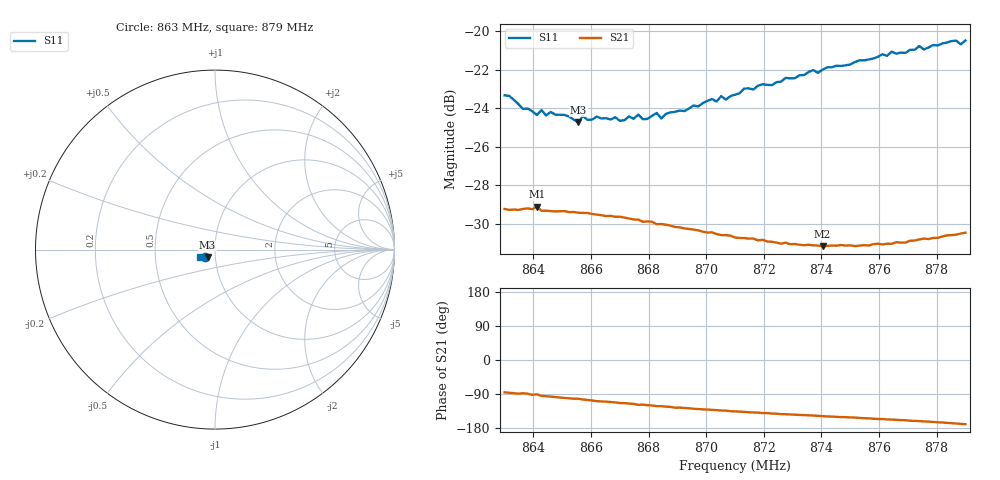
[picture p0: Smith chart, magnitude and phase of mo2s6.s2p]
# HZ S RI R 50
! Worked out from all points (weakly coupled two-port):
!   101 points, 863 MHz to 879 MHz, reference 50 ohm
!   highest |S21| = -29.11 dB at 864.12 MHz (marker M1); lowest = -31.2 dB at 874.04 MHz (marker M2)
!   lowest |S11| = -24.7 dB at 865.56 MHz (marker M3), VSWR 1.12, Z = 45.9 - j3.74 ohm
!   |S11| at or under -10 dB: start of sweep to end of sweep
!   S12 and S22 are empty: the file has one direction only
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8.63e8  -0.0537 -0.0418  0.00279 -0.0344  0 0  0 0
8.6412e8  -0.0427 -0.0428  -0.00034 -0.035  0 0  0 0
8.6428e8  -0.0453 -0.0429  -0.00271 -0.0341  0 0  0 0
8.6444e8  -0.0446 -0.0407  -0.00333 -0.034  0 0  0 0
8.646e8  -0.0459 -0.0412  -0.00396 -0.0339  0 0  0 0
8.6508e8  -0.0425 -0.0432  -0.006 -0.0336  0 0  0 0
8.6556e8  -0.0412 -0.0407  -0.00719 -0.033  0 0  0 0
8.6572e8  -0.0404 -0.0446  -0.00837 -0.0327  0 0  0 0
8.67e8  -0.0389 -0.0437  -0.0132 -0.0302  0 0  0 0
8.6764e8  -0.0393 -0.0462  -0.0154 -0.0285  0 0  0 0
8.6796e8  -0.0372 -0.046  -0.0157 -0.0279  0 0  0 0
8.6828e8  -0.0382 -0.0479  -0.0166 -0.0268  0 0  0 0
8.6844e8  -0.0361 -0.0471  -0.0167 -0.0268  0 0  0 0
8.71e8  -0.042 -0.0539  -0.0208 -0.0204  0 0  0 0
8.7132e8  -0.0444 -0.0553  -0.0212 -0.0198  0 0  0 0
8.7372e8  -0.0555 -0.0565  -0.0232 -0.0153  0 0  0 0
8.7404e8  -0.0571 -0.0552  -0.0235 -0.0146  0 0  0 0
8.7644e8  -0.0724 -0.0507  -0.0259 -0.0108  0 0  0 0
8.7692e8  -0.073 -0.0486  -0.0264 -0.0101  0 0  0 0
8.774e8  -0.078 -0.0476  -0.0273 -0.00922  0 0  0 0
8.7756e8  -0.0774 -0.045  -0.0275 -0.00894  0 0  0 0
8.79e8  -0.0863 -0.0386  -0.0295 -0.00557  0 0  0 0
